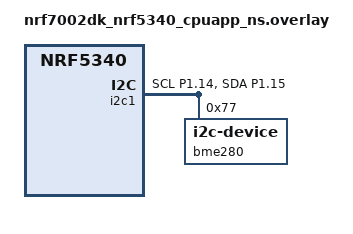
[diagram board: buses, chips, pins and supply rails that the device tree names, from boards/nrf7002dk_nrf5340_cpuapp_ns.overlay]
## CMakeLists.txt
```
cmake_minimum_required(VERSION 3.20.0)
find_package(Zephyr REQUIRED HINTS $ENV{ZEPHYR_BASE})

project(printing_logging)

target_sources(app PRIVATE src/main.c)

if(CONFIG_SUM_PRINT)
  target_sources(app PRIVATE sum_printk/sum_printk.c)
  target_include_directories(app PRIVATE sum_printk)
elseif(CONFIG_SUM_LOG)
  target_sources(app PRIVATE sum_log/sum_log.c)
  target_include_directories(app PRIVATE sum_log)
endif()

if(CONFIG_TEMP_READ)
  target_sources(app PRIVATE bme280_temp/bme280_temp.c)
  target_include_directories(app PRIVATE bme280_temp)
endif()
```

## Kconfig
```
# Needed to include Zephyr's CONFIG_LOG, CONFIG_UART_CONSOLE, etc. for prj.conf
source "Kconfig.zephyr"

choice SUM_IMPL
	prompt "Method to print sum() result"
	default SUM_PRINT

config SUM_PRINT
	bool "Print sum() result with printk()"

config SUM_LOG
	bool "Print sum() result with the logger"
	select LOG

endchoice

config TEMP_READ
	bool "Read and print BME280 temperature over I2C"
	select SENSOR
	select I2C
	select CBPRINTF_FP_SUPPORT
```

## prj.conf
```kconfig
# Console output for sum_printk() / sum_log()
CONFIG_CONSOLE=y
CONFIG_UART_CONSOLE=y

# Used when CONFIG_SUM_LOG is selected (sets its default verbosity to INFO)
CONFIG_LOG_DEFAULT_LEVEL=3

# CONFIG_SENSOR, CONFIG_I2C, and CONFIG_CBPRINTF_FP_SUPPORT are selected
# automatically by CONFIG_TEMP_READ in Kconfig

# TWIM1/SPIM1/UARTE1 share one hardware block ("Serial-Box 1") on the
# nRF5340. TF-M's default secure logging UART (CONFIG_TFM_SECURE_UART1)
# claims that whole block as Secure, which blocks our i2c1 (TWIM1) from
# being accessed by the non-secure app -- causing a SecureFault/HardFault
# the moment nrfx_twim_init() touches its registers. Silencing TF-M's
# secure-side logging (rather than just CONFIG_TFM_SECURE_UART=n, which
# leaves TF-M's fault-dump code linked against a UART driver that no
# longer exists) removes the UART1 claim and frees Serial-Box 1 for
# non-secure use.
CONFIG_TFM_LOG_LEVEL_SILENCE=y
```

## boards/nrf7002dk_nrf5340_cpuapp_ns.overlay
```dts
/* SPDX-License-Identifier: Apache-2.0 */

/delete-node/ &boot_partition;
/delete-node/ &slot0_partition;
/delete-node/ &slot1_partition;

&flash0 {
	partitions {
		/* Primary image area, based at 0x0, sized to 960KB */
		slot0_partition: partition@0 {
			compatible = "zephyr,mapped-partition";
			label = "image-0";
			reg = <0x00000000 0xf0000>;
			ranges = <0x0 0x0 0xf0000>;
			#address-cells = <1>;
			#size-cells = <1>;

			slot0_s_partition: partition@0 {
				compatible = "zephyr,mapped-partition";
				label = "image-0-secure";
				reg = <0x00000000 0x40000>;   /* 256 KB TF-M secure */
			};

			slot0_ns_partition: partition@40000 {
				compatible = "zephyr,mapped-partition";
				label = "image-0-nonsecure";
				reg = <0x00040000 0xb0000>;   /* 704 KB non-secure app */
			};
		};
	};
};

&i2c1 {
	status = "okay";
	pinctrl-0 = <&i2c1_default>;
	pinctrl-1 = <&i2c1_sleep>;
	pinctrl-names = "default", "sleep";

	bme280: bme280@77 {
		compatible = "i2c-device";
		status = "okay";
		reg = <0x77>;
	};
};

&pinctrl {
	/omit-if-no-ref/ i2c1_default: i2c1_default {
		group1 {
			psels = <NRF_PSEL(TWIM_SCL, 1, 14)>,
				<NRF_PSEL(TWIM_SDA, 1, 15)>;
		};
	};

	/omit-if-no-ref/ i2c1_sleep: i2c1_sleep {
		group1 {
			psels = <NRF_PSEL(TWIM_SCL, 1, 14)>,
				<NRF_PSEL(TWIM_SDA, 1, 15)>;
			low-power-enable;
		};
	};
};
```

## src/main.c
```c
#include <zephyr/kernel.h>

#ifdef CONFIG_SUM_PRINT
#include "sum_printk.h"
#elif defined(CONFIG_SUM_LOG)
#include "sum_log.h"
#endif

#ifdef CONFIG_TEMP_READ
#include "bme280_temp.h"
#endif

int main(void)
{
#ifdef CONFIG_SUM_PRINT
	sum_printk(3, 5);
#elif defined(CONFIG_SUM_LOG)
	sum_log(3, 5);
#endif

#ifdef CONFIG_TEMP_READ
	bme280_print_temperature();
#endif

	return 0;
}
```
